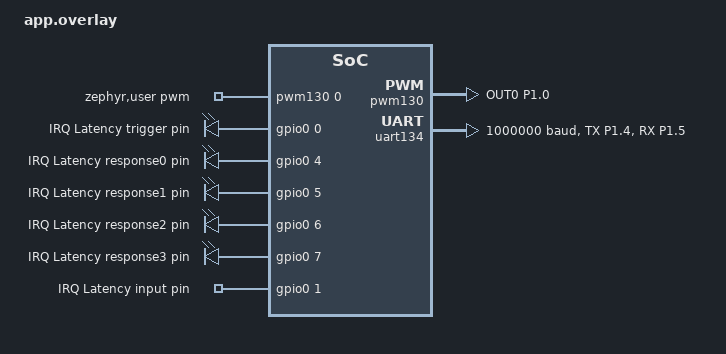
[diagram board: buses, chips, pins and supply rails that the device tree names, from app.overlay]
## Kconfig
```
#
# Copyright (c) 2020 Nordic Semiconductor
#
# SPDX-License-Identifier: LicenseRef-Nordic-5-Clause
#

source "Kconfig.zephyr"

menu "IRQ Latency sample"

config IRQ_LATENCY_APP_LOG_LEVEL
	int "Log level for the IRQ Latency sample"
	default 4

endmenu
```

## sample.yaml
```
sample:
  name: irq_latency Sample
tests:
  sample.irq_latency.build:
    sysbuild: true
    build_only: true
    integration_platforms:
      - nrf52dk/nrf52832
      - nrf52833dk/nrf52833
      - nrf52840dk/nrf52840
      - nrf52dk/nrf52810
      - nrf5340dk/nrf5340/cpunet
      - nrf21540dk/nrf52840
      - nrf54h20dk/nrf54h20/cpurad
      - nrf54h20dk/nrf54h20/cpuapp
      - nrf54l15pdk/nrf54l15/cpuapp
    platform_allow: >
      nrf52dk/nrf52832
      nrf52833dk/nrf52833
      nrf52840dk/nrf52840
      nrf52dk/nrf52810
      nrf5340dk/nrf5340/cpunet
      nrf21540dk/nrf52840
      nrf54h20dk/nrf54h20/cpurad
      nrf54h20dk/nrf54h20/cpuapp
      nrf54l15pdk/nrf54l15/cpuapp
    tags: irq_latency ci_build sysbuild
```

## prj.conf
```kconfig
#
# Copyright (c) 2019 Nordic Semiconductor ASA
#
# SPDX-License-Identifier: LicenseRef-Nordic-5-Clause
#
CONFIG_NCS_SAMPLES_DEFAULTS=y
CONFIG_DK_LIBRARY=y
CONFIG_SHELL=y
CONFIG_GPIO=y
CONFIG_PWM=y
CONFIG_NRFX_UARTE134=y
CONFIG_UART_ASYNC_API=y
CONFIG_UART_134_INTERRUPT_DRIVEN=n
CONFIG_UART_134_ASYNC=y
```

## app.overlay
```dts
/*
 * Copyright (c) 2019 Nordic Semiconductor ASA
 *
 * SPDX-License-Identifier: LicenseRef-Nordic-5-Clause
 */

/ {
	chosen {
		ncs,irq-timing = &uart134;
	};

	zephyr,user {
		pwms = <&pwm130 0 PWM_MSEC(100) PWM_POLARITY_INVERTED>;
	};

	gpiosout {
		compatible = "gpio-leds";
		trigger_pin: trigger-pin {
			gpios = <&gpio0 0 0>;
			label = "IRQ Latency trigger pin";
		};
		response0_pin: response0-pin {
			gpios = <&gpio0 4 0>;
			label = "IRQ Latency response0 pin";
		};
		response1_pin: response1-pin {
			gpios = <&gpio0 5 0>;
			label = "IRQ Latency response1 pin";
		};
		response2_pin: response2-pin {
			gpios = <&gpio0 6 0>;
			label = "IRQ Latency response2 pin";
		};
		response3_pin: response3-pin {
			gpios = <&gpio0 7 0>;
			label = "IRQ Latency response3 pin";
		};
	};

	gpiosin {
		compatible = "gpio-keys";
		input_pin: input-pin {
			gpios = <&gpio0 1 0>;
			label = "IRQ Latency input pin";
		};
	};

};

&pinctrl {
	pwm130_default_alt: pwm130_default_alt {
		group1 {
			psels = <NRF_PSEL(PWM_OUT0, 1, 0)>;
		};
	};

	pwm130_sleep_alt: pwm130_sleep_alt {
		group1 {
			psels = <NRF_PSEL(PWM_OUT0, 1, 0)>;
			low-power-enable;
		};
	};
	uart134_default: uart134_default {
		group1 {
			psels = <NRF_PSEL(UART_TX, 1, 4)>;
		};

		group2 {
			bias-pull-up;
			psels = <NRF_PSEL(UART_RX, 1, 5)>;
		};
	};
	uart134_sleep: uart134_sleep {
		group1 {
			low-power-enable;
			psels = <NRF_PSEL(UART_TX, 1, 4)>,
				<NRF_PSEL(UART_RX, 1, 5)>;
		};
	};

};

&pwm130 {
	status = "okay";
	pinctrl-0 = <&pwm130_default_alt>;
	pinctrl-1 = <&pwm130_sleep_alt>;
	pinctrl-names = "default", "sleep";
};

&uart134 {
	status = "okay";
	current-speed = <1000000>;
	#current-speed = <115200>;
	#current-speed = <250000>;
	pinctrl-0 = <&uart134_default>;
	pinctrl-1 = <&uart134_sleep>;
	pinctrl-names = "default", "sleep";
	/delete-property/ hw-flow-control;
	memory-regions = <&cpuapp_dma_region>;
};

&gpio1 {
	status = "okay";
};
```

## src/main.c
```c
/*
 * Copyright (c) 2018 Nordic Semiconductor ASA
 *
 * SPDX-License-Identifier: LicenseRef-Nordic-5-Clause
 */
#include <zephyr/device.h>
#include <zephyr/devicetree.h>
#include <zephyr/drivers/gpio.h>
#include <zephyr/drivers/pwm.h>
#include <zephyr/irq.h>
#include <zephyr/logging/log.h>
#include <nrf.h>
#include <zephyr/kernel.h>
#include <zephyr/types.h>
#include <zephyr/shell/shell.h>
#include <dk_buttons_and_leds.h>
#include <hal/nrf_gpio.h>
#include <zephyr/drivers/uart.h>

LOG_MODULE_REGISTER(esb_prx, CONFIG_IRQ_LATENCY_APP_LOG_LEVEL);

// 1 - Trigger thread from callback, 0 - Schedule work in system work queue from callback
#define TRIGGER_THREAD 1


#define TRIGGER_NODE DT_NODELABEL(trigger_pin)
#define RESPONSE0_NODE DT_NODELABEL(response0_pin)
#define RESPONSE1_NODE DT_NODELABEL(response1_pin)
#define RESPONSE2_NODE DT_NODELABEL(response2_pin)
#define RESPONSE3_NODE DT_NODELABEL(response3_pin)
#define INPUT_NODE DT_NODELABEL(input_pin)

static const struct gpio_dt_spec trigger_spec = GPIO_DT_SPEC_GET(TRIGGER_NODE, gpios);
static const struct gpio_dt_spec response0_spec = GPIO_DT_SPEC_GET(RESPONSE0_NODE, gpios);
static const struct gpio_dt_spec response1_spec = GPIO_DT_SPEC_GET(RESPONSE1_NODE, gpios);
static const struct gpio_dt_spec response2_spec = GPIO_DT_SPEC_GET(RESPONSE2_NODE, gpios);
static const struct gpio_dt_spec response3_spec = GPIO_DT_SPEC_GET(RESPONSE3_NODE, gpios);
static const struct gpio_dt_spec input_spec = GPIO_DT_SPEC_GET(INPUT_NODE, gpios);

static const struct device *uart = DEVICE_DT_GET(DT_CHOSEN(ncs_irq_timing));

static const struct pwm_dt_spec pwm = PWM_DT_SPEC_GET(DT_PATH(zephyr_user));

static void triggered_work_handler(struct k_work *item);
static void triggered_thread_entry(void *, void *, void *);

static K_THREAD_DEFINE(triggered_thread, 512,
                triggered_thread_entry, NULL, NULL, NULL,
                K_HIGHEST_APPLICATION_THREAD_PRIO, 0, 0);
static K_WORK_DEFINE(triggered_work, triggered_work_handler);
static K_SEM_DEFINE(triggered_sem, 0, 1);


static int test_gpio(const struct shell *shell, size_t argc,
			       char **argv)
{
	static int i = 0;
	if (i) {
		*(volatile int32_t*)(0x5F938000 + 0x004) = 1 << 0; // P0.0 manual trigger on
	} else {
		*(volatile int32_t*)(0x5F938000 + 0x008) = 1 << 0; // P0.0 manual trigger off
	}
	i = !i;
	return 0;
}

SHELL_CMD_REGISTER(gpio, NULL, "Toggle P0.0 pin manually.", test_gpio);


static int cmd_awake(const struct shell *shell, size_t argc, char **argv)
{
	int64_t start = k_uptime_get();
	while (start + 5000 > k_uptime_get()) {
		for (int i = 0; i < 1000000; i++) {
			__asm volatile("");
		}
	}
	return 0;
}

SHELL_CMD_REGISTER(awake, NULL, "Force CPU awake for 5 sec.", cmd_awake);


static int cmd_tx(const struct shell *shell, size_t argc, char **argv)
{
	static char src[] = "0";
	int64_t start = k_uptime_get();
	while (start + 2000 > k_uptime_get());
	uart_tx(uart, src, 1, SYS_FOREVER_US);
	src[0]++;
	return 0;
}

SHELL_CMD_REGISTER(tx, NULL, "Send byte on UARTE TX on P1.4 pin.", cmd_tx);


#define REPEAT4(x) x x x x
#define REPEAT16(x) REPEAT4(x) REPEAT4(x) REPEAT4(x) REPEAT4(x)
#define REPEAT64(x) REPEAT16(x) REPEAT16(x) REPEAT16(x) REPEAT16(x)
#define REPEAT256(x) REPEAT64(x) REPEAT64(x) REPEAT64(x) REPEAT64(x)
#define REPEAT1024(x) REPEAT256(x) REPEAT256(x) REPEAT256(x) REPEAT256(x)
#define REPEAT4096(x) REPEAT1024(x) REPEAT1024(x) REPEAT1024(x) REPEAT1024(x)

//#define WAIT for (volatile int c = 0; c < 10; c++);
//#define WAIT __DSB()
//#define WAIT __DMB()
#define WAIT

#define USE_VALUE(x) __asm__ volatile (""::"r"(x));

static int cmd_regw(const struct shell *shell, size_t argc, char **argv)
{
	for (int i = 0; i < 100; i++) {
		*(volatile int32_t*)(0x5F938000 + 0x008) = 1 << 6; // P0.6 off
		WAIT;
		*(volatile int32_t*)(0x5F939200 + 0x008) = 1 << 0; // P9.0 off
		WAIT;
		*(volatile int32_t*)(0x5F938000 + 0x004) = 1 << 6; // P0.6 on
		WAIT;
		*(volatile int32_t*)(0x5F939200 + 0x004) = 1 << 0; // P9.0 on
		WAIT;
	}
	return 0;
}

SHELL_CMD_REGISTER(regw, NULL, "Test GPIO registers write time.", cmd_regw);

static int cmd_regw_uarte(const struct shell *shell, size_t argc, char **argv)
{
	uint32_t value = *(volatile int32_t*)(0x5F9C5000 + 0x524);
	for (int i = 0; i < 100; i++) {
		*(volatile int32_t*)(0x5F938000 + 0x008) = 1 << 6; // P0.6 off
		WAIT;
		*(volatile int32_t*)(0x5F9C5000 + 0x524) = value;
		WAIT;
		*(volatile int32_t*)(0x5F9C5000 + 0x524) = value;
		WAIT;
		*(volatile int32_t*)(0x5F9C5000 + 0x524) = value;
		WAIT;
		*(volatile int32_t*)(0x5F9C5000 + 0x524) = value;
		WAIT;
		*(volatile int32_t*)(0x5F938000 + 0x004) = 1 << 6; // P0.6 on
		WAIT;
	}
	return 0;
}

SHELL_CMD_REGISTER(regw_uarte, NULL, "Test UARTE registers write time.", cmd_regw_uarte);

static int cmd_regr(const struct shell *shell, size_t argc, char **argv)
{
	uint32_t x;
	for (int i = 0; i < 100; i++) {
		*(volatile int32_t*)(0x5F938000 + 0x008) = 1 << 6; // P0.6 off
		WAIT;
		x = *(volatile int32_t*)(0x5F938000 + 0x00C); USE_VALUE(x);
		WAIT;
		x = *(volatile int32_t*)(0x5F938200 + 0x00C); USE_VALUE(x);
		WAIT;
		x = *(volatile int32_t*)(0x5F938400 + 0x00C); USE_VALUE(x);
		WAIT;
		x = *(volatile int32_t*)(0x5F938C00 + 0x00C); USE_VALUE(x);
		WAIT;
		*(volatile int32_t*)(0x5F938000 + 0x004) = 1 << 6; // P0.6 on
		WAIT;
	}
	return 0;
}

SHELL_CMD_REGISTER(regr, NULL, "Test GPIO registers read time.", cmd_regr);

static int cmd_regr_uart(const struct shell *shell, size_t argc, char **argv)
{
	uint32_t x;
	for (int i = 0; i < 100; i++) {
		*(volatile int32_t*)(0x5F938000 + 0x008) = 1 << 6; // P0.6 off
		WAIT;
		x = *(volatile int32_t*)(0x5F9C5000 + 0x524); USE_VALUE(x);
		WAIT;
		x = *(volatile int32_t*)(0x5F9C5000 + 0x56C); USE_VALUE(x);
		WAIT;
		x = *(volatile int32_t*)(0x5F9C5000 + 0x524); USE_VALUE(x);
		WAIT;
		x = *(volatile int32_t*)(0x5F9C5000 + 0x56C); USE_VALUE(x);
		WAIT;
		x = *(volatile int32_t*)(0x5F9C5000 + 0x524); USE_VALUE(x);
		WAIT;
		x = *(volatile int32_t*)(0x5F9C5000 + 0x56C); USE_VALUE(x);
		WAIT;
		x = *(volatile int32_t*)(0x5F9C5000 + 0x524); USE_VALUE(x);
		WAIT;
		x = *(volatile int32_t*)(0x5F9C5000 + 0x56C); USE_VALUE(x);
		WAIT;
		*(volatile int32_t*)(0x5F938000 + 0x004) = 1 << 6; // P0.6 on
		WAIT;
	}
	return 0;
}

SHELL_CMD_REGISTER(regr_uarte, NULL, "Test UARTE registers read access time.", cmd_regr_uart);


static void interrupt_callback(const struct device *dev, struct gpio_callback *cb, uint32_t pins)
{
	*(volatile int32_t*)(0x5F938000 + 0x004) = 1 << 7; // P0.7 on - start callback
	if (TRIGGER_THREAD) {
		k_sem_give(&triggered_sem);
	} else {
		k_work_submit(&triggered_work);
	}
	*(volatile int32_t*)(0x5F938000 + 0x008) = 1 << 7; // P0.7 off - end callback
}


static uint8_t uart_buffer[3][512];
static uint8_t uart_buffer_used;


static void uart_cb(const struct device *dev, struct uart_event *evt, void *user_data)
{
	ARG_UNUSED(dev);
	*(volatile int32_t*)(0x5F938000 + 0x004) = 1 << 7; // P0.7 on - start callback

	//LOG_ERR("Callback %d", evt->type);

	switch (evt->type) {
	case UART_TX_DONE:
		break;

	case UART_RX_RDY:
		*(volatile int32_t*)(0x5F938000 + 0x008) = 1 << 6; // P0.6 off
		*(volatile int32_t*)(0x5F938000 + 0x004) = 1 << 6; // P0.6 on
		break;

	case UART_RX_DISABLED:
		if (!(uart_buffer_used & 1)) {
			uart_buffer_used |= 1;
			uart_rx_enable(uart, uart_buffer[0], sizeof(uart_buffer[0]), 0);
		} else if (!(uart_buffer_used & 2)) {
			uart_buffer_used |= 2;
			uart_rx_enable(uart, uart_buffer[1], sizeof(uart_buffer[1]), 0);
		} else if (!(uart_buffer_used & 4)) {
			uart_buffer_used |= 4;
			uart_rx_enable(uart, uart_buffer[2], sizeof(uart_buffer[2]), 0);
		}
		break;

	case UART_RX_BUF_REQUEST:
		if (!(uart_buffer_used & 1)) {
			uart_buffer_used |= 1;
			uart_rx_buf_rsp(uart, uart_buffer[0], sizeof(uart_buffer[0]));
		} else if (!(uart_buffer_used & 2)) {
			uart_buffer_used |= 2;
			uart_rx_buf_rsp(uart, uart_buffer[1], sizeof(uart_buffer[1]));
		} else if (!(uart_buffer_used & 4)) {
			uart_buffer_used |= 4;
			uart_rx_buf_rsp(uart, uart_buffer[2], sizeof(uart_buffer[2]));
		}
		break;

	case UART_RX_BUF_RELEASED:
		if (evt->data.rx_buf.buf == uart_buffer[0]) {
			uart_buffer_used &= ~1;
		} else if (evt->data.rx_buf.buf == uart_buffer[1]) {
			uart_buffer_used &= ~2;
		} else if (evt->data.rx_buf.buf == uart_buffer[2]) {
			uart_buffer_used &= ~4;
		}
		break;

	case UART_TX_ABORTED:
		break;

	default:
		break;
	}

	*(volatile int32_t*)(0x5F938000 + 0x008) = 1 << 7; // P0.7 off - end callback
}

static void trigger_uart() {
	static char buf[] = "1";
	uart_tx(uart, buf, 1, SYS_FOREVER_US);
	buf[0]++;
}

static void triggered_work_handler(struct k_work *item) {
	*(volatile int32_t*)(0x5F938000 + 0x008) = 1 << 6; // P0.6 off
	*(volatile int32_t*)(0x5F938000 + 0x004) = 1 << 6; // P0.6 on
	trigger_uart();
}

static void triggered_thread_entry(void *, void *, void *) {
	while (1) {
		k_sem_take(&triggered_sem, K_FOREVER);
		*(volatile int32_t*)(0x5F938000 + 0x008) = 1 << 6; // P0.6 off
		*(volatile int32_t*)(0x5F938000 + 0x004) = 1 << 6; // P0.6 on
		trigger_uart();
	}
}


int main(void)
{
	int err;
	static struct gpio_callback gpio_cb_data;

	LOG_INF("IRQ Latency sample start.");

	err = dk_leds_init();
	if (err) {
		LOG_ERR("LEDs initialization failed, err %d", err);
		return 0;
	}

	if (!pwm_is_ready_dt(&pwm)) {
		printk("Error: PWM device %s is not ready\n", pwm.dev->name);
		return 0;
	}

	if (pwm_set_dt(&pwm, PWM_MSEC(100), PWM_USEC(9))) { // 78 to emulate 115200, 9 for 1M, 36 for 250K
		LOG_ERR("Pwm led 4 set fails:\n");
		return 0;
	}

	err = gpio_pin_configure_dt(&trigger_spec, GPIO_OUTPUT_INACTIVE);
	err = err || gpio_pin_configure_dt(&response0_spec, GPIO_OUTPUT_INACTIVE);
	err = err || gpio_pin_configure_dt(&response1_spec, GPIO_OUTPUT_INACTIVE);
	err = err || gpio_pin_configure_dt(&response2_spec, GPIO_OUTPUT_INACTIVE);
	err = err || gpio_pin_configure_dt(&response3_spec, GPIO_OUTPUT_INACTIVE);
	err = err || gpio_pin_configure_dt(&input_spec, GPIO_INPUT);
	err = err || gpio_pin_interrupt_configure_dt(&input_spec, GPIO_INT_EDGE_FALLING);
	if (err) {
		return -ENODEV;
	}

	gpio_init_callback(&gpio_cb_data, interrupt_callback, BIT(input_spec.pin));
	gpio_add_callback(input_spec.port, &gpio_cb_data);

	if (!device_is_ready(uart)) {
		LOG_ERR("UART device not ready");
		return -ENODEV;
	}

	err = uart_callback_set(uart, uart_cb, NULL);
	if (err) {
		LOG_ERR("UART callback setup failed %d", err);
		return err;
	}

	err = uart_rx_enable(uart, uart_buffer[0], sizeof(uart_buffer[0]), 5000);
	uart_buffer_used |= 1;
	if (err) {
		LOG_ERR("UART enable failed %d", err);
		return err;
	}

	LOG_INF("Initialization complete");

	/* return to idle thread */
	return 0;
}
```
